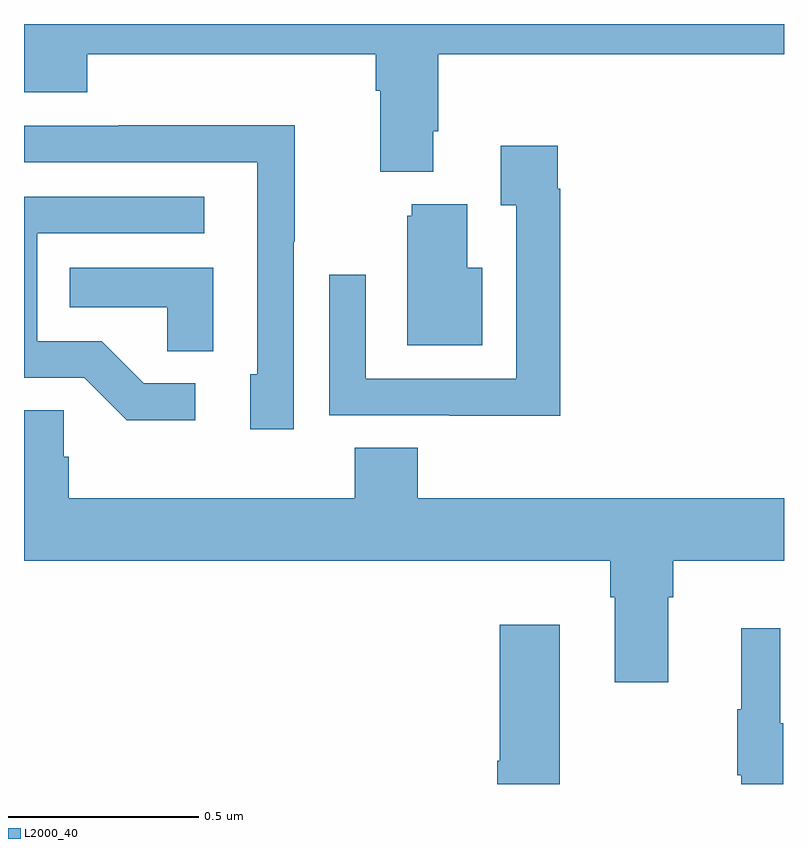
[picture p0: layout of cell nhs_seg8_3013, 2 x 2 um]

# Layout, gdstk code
import gdstk
lib = gdstk.Library(unit=1e-6, precision=1e-09)
def P(c, l, *ps):  # polygons
    for p in ps: c.add(gdstk.Polygon(p, *l))
L2000_40 = (2000, 40)

nhs_seg8_3013 = lib.new_cell('nhs_seg8_3013')
P(nhs_seg8_3013, L2000_40, [(152.077,1129.618),(152.09,1129.618),(152.09,1129.82),(153,1129.82),(153,1129.9),(151,1129.9),(151,1129.82),(151.001,1129.82),(151.001,1129.721),(151.166,1129.721),(151.166,1129.82),(151.925,1129.82),(151.925,1129.724),(151.937,1129.724),(151.937,1129.511),(152.077,1129.511)],
  [(151.71,1129.327),(151.713,1129.327),(151.713,1129.634),(151.249,1129.634),(151.249,1129.632),(151,1129.632),(151,1129.536),(151.614,1129.536),(151.614,1128.978),(151.595,1128.978),(151.595,1128.834),(151.71,1128.834)],
  [(152.411,1129.466),(152.404,1129.466),(152.404,1129.579),(152.255,1129.579),(152.255,1129.423),(152.295,1129.423),(152.295,1128.966),(151.899,1128.966),(151.899,1129.24),(151.803,1129.24),(151.803,1128.87),(152.119,1128.87),(152.119,1128.869),(152.411,1128.869)],
  [(151.45,1128.954),(151.315,1128.954),(151.204,1129.065),(151.035,1129.065),(151.035,1129.35),(151.474,1129.35),(151.474,1129.446),(151,1129.446),(151,1128.969),(151.158,1128.969),(151.271,1128.857),(151.45,1128.857)],
  [(152.206,1129.258),(152.167,1129.258),(152.167,1129.426),(152.021,1129.426),(152.021,1129.395),(152.009,1129.395),(152.009,1129.055),(152.206,1129.055)],
  [(151.498,1129.258),(151.12,1129.258),(151.12,1129.154),(151.377,1129.154),(151.377,1129.039),(151.498,1129.039)],
  [(152.695,1128.392),(152.708,1128.392),(152.708,1128.488),(153,1128.488),(153,1128.652),(152.036,1128.652),(152.036,1128.785),(151.871,1128.785),(151.871,1128.652),(151.118,1128.652),(151.118,1128.761),(151.104,1128.761),(151.104,1128.884),(151,1128.884),(151,1128.488),(152.543,1128.488),(152.543,1128.392),(152.555,1128.392),(152.555,1128.168),(152.695,1128.168)],
  [(152.41,1128.319),(152.252,1128.319),(152.252,1127.961),(152.246,1127.961),(152.246,1127.9),(152.41,1127.9)],
  [(152.998,1128.06),(152.99,1128.06),(152.99,1128.31),(152.888,1128.31),(152.888,1128.097),(152.877,1128.097),(152.877,1127.923),(152.888,1127.923),(152.888,1127.9),(152.998,1127.9)])

lib.write_gds('nhs_seg8_3013.gds')
